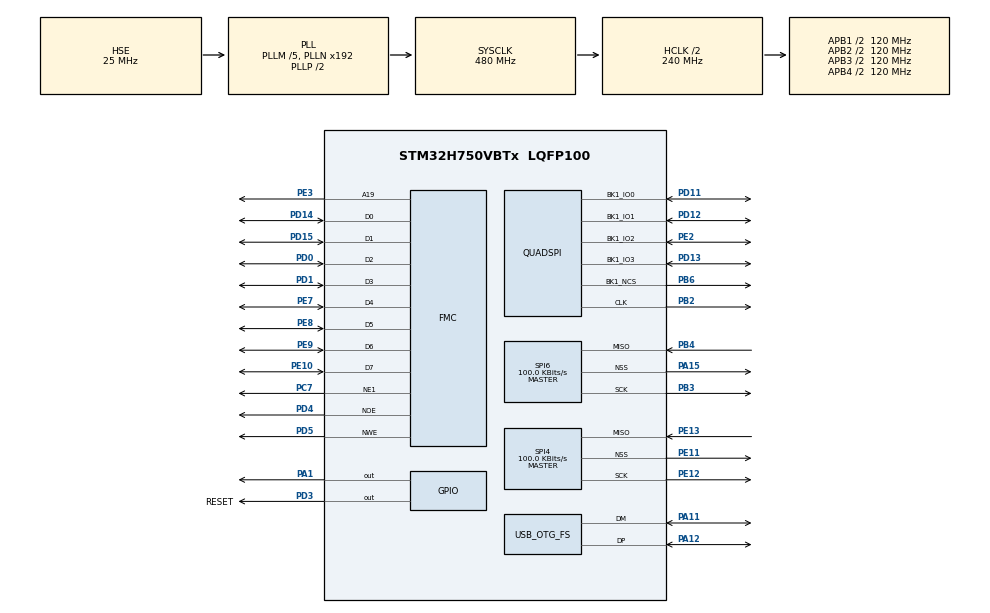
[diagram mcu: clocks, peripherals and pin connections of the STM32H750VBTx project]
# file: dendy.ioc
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CORTEX_M7.AccessPermission-Cortex_Memory_Protection_Unit_Region0_Settings=MPU_REGION_FULL_ACCESS
CORTEX_M7.AccessPermission-Cortex_Memory_Protection_Unit_Region1_Settings=MPU_REGION_FULL_ACCESS
CORTEX_M7.AccessPermission-Cortex_Memory_Protection_Unit_Region2_Settings=MPU_REGION_FULL_ACCESS
CORTEX_M7.AccessPermission-Cortex_Memory_Protection_Unit_Region3_Settings=MPU_REGION_PRIV_RO_URO
CORTEX_M7.AccessPermission-Cortex_Memory_Protection_Unit_Region4_Settings=MPU_REGION_FULL_ACCESS
CORTEX_M7.BaseAddress-Cortex_Memory_Protection_Unit_Region0_Settings=0x90000000
CORTEX_M7.BaseAddress-Cortex_Memory_Protection_Unit_Region1_Settings=0xC0080000
CORTEX_M7.BaseAddress-Cortex_Memory_Protection_Unit_Region2_Settings=0xC0000000
CORTEX_M7.BaseAddress-Cortex_Memory_Protection_Unit_Region3_Settings=0x08000000
CORTEX_M7.BaseAddress-Cortex_Memory_Protection_Unit_Region4_Settings=0x24000000
CORTEX_M7.CPU_DCache=Enabled
CORTEX_M7.CPU_ICache=Enabled
CORTEX_M7.DisableExec-Cortex_Memory_Protection_Unit_Region0_Settings=MPU_INSTRUCTION_ACCESS_DISABLE
CORTEX_M7.DisableExec-Cortex_Memory_Protection_Unit_Region1_Settings=MPU_INSTRUCTION_ACCESS_DISABLE
CORTEX_M7.DisableExec-Cortex_Memory_Protection_Unit_Region2_Settings=MPU_INSTRUCTION_ACCESS_DISABLE
CORTEX_M7.Enable-Cortex_Memory_Protection_Unit_Region0_Settings=MPU_REGION_ENABLE
CORTEX_M7.Enable-Cortex_Memory_Protection_Unit_Region1_Settings=MPU_REGION_ENABLE
CORTEX_M7.Enable-Cortex_Memory_Protection_Unit_Region2_Settings=MPU_REGION_ENABLE
CORTEX_M7.Enable-Cortex_Memory_Protection_Unit_Region3_Settings=MPU_REGION_ENABLE
CORTEX_M7.Enable-Cortex_Memory_Protection_Unit_Region4_Settings=MPU_REGION_ENABLE
CORTEX_M7.IsBufferable-Cortex_Memory_Protection_Unit_Region3_Settings=MPU_ACCESS_BUFFERABLE
CORTEX_M7.IsBufferable-Cortex_Memory_Protection_Unit_Region4_Settings=MPU_ACCESS_BUFFERABLE
CORTEX_M7.IsCacheable-Cortex_Memory_Protection_Unit_Region3_Settings=MPU_ACCESS_CACHEABLE
CORTEX_M7.IsCacheable-Cortex_Memory_Protection_Unit_Region4_Settings=MPU_ACCESS_CACHEABLE
CORTEX_M7.MPU_Control=MPU_PRIVILEGED_DEFAULT
CORTEX_M7.Size-Cortex_Memory_Protection_Unit_Region0_Settings=MPU_REGION_SIZE_8MB
CORTEX_M7.Size-Cortex_Memory_Protection_Unit_Region1_Settings=MPU_REGION_SIZE_128KB
CORTEX_M7.Size-Cortex_Memory_Protection_Unit_Region2_Settings=MPU_REGION_SIZE_128KB
CORTEX_M7.Size-Cortex_Memory_Protection_Unit_Region3_Settings=MPU_REGION_SIZE_128KB
CORTEX_M7.Size-Cortex_Memory_Protection_Unit_Region4_Settings=MPU_REGION_SIZE_512KB
CORTEX_M7.default_mode_Activation=0
FATFS._FS_EXFAT=1
FATFS._FS_LOCK=0
FATFS._FS_MINIMIZE=1
FATFS._FS_READONLY=1
FATFS._MAX_SS=4096
FATFS._MIN_SS=4096
FATFS._USE_LFN=3
FATFS._USE_MKFS=0
FMC.AddressHoldTime1=1
FMC.AddressSetupTime1=0
FMC.BankMapConfig=FMC_SWAPBMAP_SDRAM_SRAM
FMC.BusTurnAroundDuration1=0
FMC.DataSetupTime1=6
FMC.ExtendedMode1=FMC_EXTENDED_MODE_DISABLE
FMC.WriteFifo1=FMC_WRITE_FIFO_ENABLE
FREERTOS.HEAP_NUMBER=4
FREERTOS.Tasks01=Default_Task,24,4096,Start_Default_Task,Default,NULL,Static,defaultTaskBuffer,defaultTaskControlBlock
FREERTOS.configENABLE_BACKWARD_COMPATIBILITY=0
FREERTOS.configMINIMAL_STACK_SIZE=1024
FREERTOS.configQUEUE_REGISTRY_SIZE=32
FREERTOS.configTIMER_TASK_STACK_DEPTH=4096
FREERTOS.configUSE_NEWLIB_REENTRANT=1
FREERTOS.configUSE_OS2_EVENTFLAGS_FROM_ISR=0
FREERTOS.configUSE_OS2_THREAD_ENUMERATE=0
FREERTOS.configUSE_OS2_THREAD_FLAGS=0
FREERTOS.configUSE_OS2_THREAD_SUSPEND_RESUME=0
FREERTOS.configUSE_OS2_TIMER=0
FREERTOS.configUSE_TASK_NOTIFICATIONS=1
Mcu.Family=STM32H7
Mcu.Name=STM32H750VBTx
Mcu.Package=LQFP100
NVIC.OTG_FS_IRQn=true\:5\:0\:true\:false\:true\:true\:false\:true\:true
NVIC.PriorityGroup=NVIC_PRIORITYGROUP_4
NVIC.TIM17_IRQn=true\:5\:0\:true\:false\:true\:false\:false\:true\:true
NVIC.TimeBase=TIM17_IRQn
NVIC.TimeBaseIP=TIM17
PA1.Signal=GPIO_Output
PA11.GPIO_Speed=GPIO_SPEED_FREQ_VERY_HIGH
PA11.Mode=Device_Only
PA11.Signal=USB_OTG_FS_DM
PA12.GPIO_Speed=GPIO_SPEED_FREQ_VERY_HIGH
PA12.Mode=Device_Only
PA12.Signal=USB_OTG_FS_DP
PA15\ (JTDI).Mode=NSS_Signal_Hard_Output
PA15\ (JTDI).Signal=SPI6_NSS
PB2.GPIO_Speed=GPIO_SPEED_FREQ_VERY_HIGH
PB2.Mode=Single Bank 1
PB2.Signal=QUADSPI_CLK
PB3\ (JTDO/TRACESWO).Mode=RX_Only_Simplex_Unidirect_Master
PB3\ (JTDO/TRACESWO).Signal=SPI6_SCK
PB4\ (NJTRST).Mode=RX_Only_Simplex_Unidirect_Master
PB4\ (NJTRST).Signal=SPI6_MISO
PB6.GPIO_FM6=SYSCFG_PMCR_I2C_PB6_FMP
PB6.GPIO_Speed=GPIO_SPEED_FREQ_VERY_HIGH
PB6.Mode=Single Bank 1
PB6.Signal=QUADSPI_BK1_NCS
PC7.Mode=NorPsramChipSelect1_1
PC7.Signal=FMC_NE1
PD0.Signal=FMC_D2_DA2
PD1.Signal=FMC_D3_DA3
PD11.GPIO_Speed=GPIO_SPEED_FREQ_VERY_HIGH
PD11.Mode=Single Bank 1
PD11.Signal=QUADSPI_BK1_IO0
PD12.GPIO_Speed=GPIO_SPEED_FREQ_VERY_HIGH
PD12.Mode=Single Bank 1
PD12.Signal=QUADSPI_BK1_IO1
PD13.GPIO_Speed=GPIO_SPEED_FREQ_VERY_HIGH
PD13.Mode=Single Bank 1
PD13.Signal=QUADSPI_BK1_IO3
PD14.Signal=FMC_D0_DA0
PD15.Signal=FMC_D1_DA1
PD3.GPIO_Label=RESET
PD3.GPIO_PuPd=GPIO_PULLUP
PD3.Signal=GPIO_Output
PD4.Signal=FMC_NOE
PD5.Signal=FMC_NWE
PE10.Signal=FMC_D7_DA7
PE11.Mode=NSS_Signal_Hard_Output
PE11.Signal=SPI4_NSS
PE12.Mode=RX_Only_Simplex_Unidirect_Master
PE12.Signal=SPI4_SCK
PE13.Mode=RX_Only_Simplex_Unidirect_Master
PE13.Signal=SPI4_MISO
PE2.GPIO_Speed=GPIO_SPEED_FREQ_VERY_HIGH
PE2.Mode=Single Bank 1
PE2.Signal=QUADSPI_BK1_IO2
PE3.Signal=FMC_A19
PE7.Signal=FMC_D4_DA4
PE8.Signal=FMC_D5_DA5
PE9.Signal=FMC_D6_DA6
PH0-OSC_IN\ (PH0).Mode=HSE-External-Oscillator
PH0-OSC_IN\ (PH0).Signal=RCC_OSC_IN
PH1-OSC_OUT\ (PH1).Mode=HSE-External-Oscillator
PH1-OSC_OUT\ (PH1).Signal=RCC_OSC_OUT
ProjectManager.HeapSize=0x200
ProjectManager.StackSize=0x400
ProjectManager.TargetToolchain=STM32CubeIDE
QUADSPI.ChipSelectHighTime=QSPI_CS_HIGH_TIME_3_CYCLE
QUADSPI.ClockMode=QSPI_CLOCK_MODE_3
QUADSPI.ClockPrescaler=0
QUADSPI.FifoThreshold=32
QUADSPI.FlashSize=22
QUADSPI.SampleShifting=QSPI_SAMPLE_SHIFTING_HALFCYCLE
RCC.ADCFreq_Value=100000000
RCC.APB1Freq_Value=120000000
RCC.APB2Freq_Value=120000000
RCC.APB3Freq_Value=120000000
RCC.APB4Freq_Value=120000000
RCC.CortexFreq_Value=480000000
RCC.D1PPRE=RCC_APB3_DIV2
RCC.D2PPRE1=RCC_APB1_DIV2
RCC.D2PPRE2=RCC_APB2_DIV2
RCC.D3PPRE=RCC_APB4_DIV2
RCC.DIVM1=5
RCC.DIVM2=5
RCC.DIVM3=2
RCC.DIVN1=192
RCC.DIVN2=40
RCC.DIVN3=10
RCC.DIVP3=5
RCC.DIVQ1=8
RCC.DIVQ2=125
RCC.DIVQ3=4
RCC.DIVR2=4
RCC.FMCCLockSelection=RCC_FMCCLKSOURCE_PLL
RCC.HCLKFreq_Value=240000000
RCC.HPRE=RCC_HCLK_DIV2
RCC.PLL2FRACN=0
RCC.PLL3FRACN=0
RCC.PLLFRACN=0
RCC.PLLSourceVirtual=RCC_PLLSOURCE_HSE
RCC.PWR_Regulator_Voltage_Scale=PWR_REGULATOR_VOLTAGE_SCALE0
RCC.ProductRev=revY
RCC.QSPICLockSelection=RCC_QSPICLKSOURCE_PLL2
RCC.SPI6CLockSelection=RCC_SPI6CLKSOURCE_PLL2
RCC.SYSCLKFreq_VALUE=480000000
RCC.SYSCLKSource=RCC_SYSCLKSOURCE_PLLCLK
RCC.Spi45ClockSelection=RCC_SPI45CLKSOURCE_PLL2
RCC.USBCLockSelection=RCC_USBCLKSOURCE_HSI48
RCC.USBFreq_Value=48000000
SH.FMC_A19.0=FMC_A19,A19_1
SH.FMC_D0_DA0.0=FMC_D0,8b-d1
SH.FMC_D1_DA1.0=FMC_D1,8b-d1
SH.FMC_D2_DA2.0=FMC_D2,8b-d1
SH.FMC_D3_DA3.0=FMC_D3,8b-d1
SH.FMC_D4_DA4.0=FMC_D4,8b-d1
SH.FMC_D5_DA5.0=FMC_D5,8b-d1
SH.FMC_D6_DA6.0=FMC_D6,8b-d1
SH.FMC_D7_DA7.0=FMC_D7,8b-d1
SH.FMC_NOE.0=FMC_NOE,Lcd1
SH.FMC_NWE.0=FMC_NWE,Lcd1
SPI4.BaudRatePrescaler=SPI_BAUDRATEPRESCALER_16
SPI4.CLKPhase=SPI_PHASE_2EDGE
SPI4.CLKPolarity=SPI_POLARITY_HIGH
SPI4.CalculateBaudRate=100.0 KBits/s
SPI4.DataSize=SPI_DATASIZE_8BIT
SPI4.Direction=SPI_DIRECTION_2LINES_RXONLY
SPI4.Mode=SPI_MODE_MASTER
SPI4.NSSPMode=SPI_NSS_PULSE_DISABLE
SPI4.VirtualNSS=VM_NSSHARD
SPI4.VirtualType=VM_MASTER
SPI6.BaudRatePrescaler=SPI_BAUDRATEPRESCALER_16
SPI6.CLKPhase=SPI_PHASE_2EDGE
SPI6.CLKPolarity=SPI_POLARITY_HIGH
SPI6.CalculateBaudRate=100.0 KBits/s
SPI6.DataSize=SPI_DATASIZE_8BIT
SPI6.Direction=SPI_DIRECTION_2LINES_RXONLY
SPI6.Mode=SPI_MODE_MASTER
SPI6.NSSPMode=SPI_NSS_PULSE_DISABLE
SPI6.VirtualNSS=VM_NSSHARD
SPI6.VirtualType=VM_MASTER
USB_DEVICE.CLASS_NAME_FS=MSC
USB_DEVICE.MSC_MEDIA_PACKET-MSC_FS=4096
USB_DEVICE.VirtualMode-MSC_FS=Msc
USB_DEVICE.VirtualModeFS=Msc_FS
USB_OTG_FS.VirtualMode=Device_Only
VP_FATFS_VS_Generic.Mode=User_defined
VP_FREERTOS_VS_CMSIS_V2.Mode=CMSIS_V2
VP_SYS_VS_tim17.Mode=TIM17
VP_USB_DEVICE_VS_USB_DEVICE_MSC_FS.Mode=MSC_FS
board=custom

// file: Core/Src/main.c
/* USER CODE BEGIN Header */
/**
  ******************************************************************************
  * @file           : main.c
  * @brief          : Main program body
  ******************************************************************************
  * @attention
  *
  * <h2><center>&copy; Copyright (c) 2022 STMicroelectronics.
  * All rights reserved.</center></h2>
  *
  * This software component is licensed by ST under Ultimate Liberty license
  * SLA0044, the "License"; You may not use this file except in compliance with
  * the License. You may obtain a copy of the License at:
  *                             www.st.com/SLA0044
  *
  ******************************************************************************
  */
/* USER CODE END Header */
#include "main.h"
#include "cmsis_os.h"
#include "fatfs.h"
#include "spi.h"
#include "usb_device.h"
#include "gpio.h"
#include "fmc.h"

/* USER CODE BEGIN Includes */

#include "CPU.h"
#include "PPU.h"
#include "BUS.h"

#include "lcd.h"
#include "w25qxx_qspi.h"
/* USER CODE END Includes */

void SystemClock_Config(void);
void PeriphCommonClock_Config(void);
static void MPU_Config(void);
void MX_FREERTOS_Init(void);

int main(void)
{
  /* USER CODE BEGIN 1 */
	//SCB->VTOR = QSPI_BASE;
  /* USER CODE END 1 */

  /* MPU Configuration--------------------------------------------------------*/
  MPU_Config();

  /* Enable I-Cache---------------------------------------------------------*/
  //SCB_EnableICache();

  /* Enable D-Cache---------------------------------------------------------*/
  //SCB_EnableDCache();

  /* MCU Configuration--------------------------------------------------------*/

  /* Reset of all peripherals, Initializes the Flash interface and the Systick. */
  HAL_Init();

  /* Configure the system clock */
  SystemClock_Config();

/* Configure the peripherals common clocks */
  PeriphCommonClock_Config();

  /* Initialize all configured peripherals */
  MX_GPIO_Init();
  MX_FMC_Init();
  MX_FATFS_Init();
  MX_SPI6_Init();
  MX_SPI4_Init();
  /* USER CODE BEGIN 2 */

  InitFlash();
  /* USER CODE END 2 */

  /* Init scheduler */
  osKernelInitialize();  /* Call init function for freertos objects (in freertos.c) */
  MX_FREERTOS_Init();

  /* Start scheduler */
  osKernelStart();

  /* We should never get here as control is now taken by the scheduler */
  /* Infinite loop */

}

void SystemClock_Config(void)
{
  RCC_OscInitTypeDef RCC_OscInitStruct = {0};
  RCC_ClkInitTypeDef RCC_ClkInitStruct = {0};

  /** Supply configuration update enable
  */
  HAL_PWREx_ConfigSupply(PWR_LDO_SUPPLY);

  /** Configure the main internal regulator output voltage
  */
  __HAL_PWR_VOLTAGESCALING_CONFIG(PWR_REGULATOR_VOLTAGE_SCALE1);

  while(!__HAL_PWR_GET_FLAG(PWR_FLAG_VOSRDY)) {}

  __HAL_RCC_SYSCFG_CLK_ENABLE();
  __HAL_PWR_VOLTAGESCALING_CONFIG(PWR_REGULATOR_VOLTAGE_SCALE0);

  while(!__HAL_PWR_GET_FLAG(PWR_FLAG_VOSRDY)) {}

  /** Macro to configure the PLL clock source
  */
  __HAL_RCC_PLL_PLLSOURCE_CONFIG(RCC_PLLSOURCE_HSE);

  /** Initializes the RCC Oscillators according to the specified parameters
  * in the RCC_OscInitTypeDef structure.
  */
  RCC_OscInitStruct.OscillatorType = RCC_OSCILLATORTYPE_HSI48|RCC_OSCILLATORTYPE_HSE;
  RCC_OscInitStruct.HSEState = RCC_HSE_ON;
  RCC_OscInitStruct.HSI48State = RCC_HSI48_ON;
  RCC_OscInitStruct.PLL.PLLState = RCC_PLL_ON;
  RCC_OscInitStruct.PLL.PLLSource = RCC_PLLSOURCE_HSE;
  RCC_OscInitStruct.PLL.PLLM = 5;
  RCC_OscInitStruct.PLL.PLLN = 192;
  RCC_OscInitStruct.PLL.PLLP = 2;
  RCC_OscInitStruct.PLL.PLLQ = 8;
  RCC_OscInitStruct.PLL.PLLR = 2;
  RCC_OscInitStruct.PLL.PLLRGE = RCC_PLL1VCIRANGE_2;
  RCC_OscInitStruct.PLL.PLLVCOSEL = RCC_PLL1VCOWIDE;
  RCC_OscInitStruct.PLL.PLLFRACN = 0;
  if (HAL_RCC_OscConfig(&RCC_OscInitStruct) != HAL_OK)
  {
    Error_Handler();
  }

  /** Initializes the CPU, AHB and APB buses clocks
  */
  RCC_ClkInitStruct.ClockType = RCC_CLOCKTYPE_HCLK|RCC_CLOCKTYPE_SYSCLK
                              |RCC_CLOCKTYPE_PCLK1|RCC_CLOCKTYPE_PCLK2
                              |RCC_CLOCKTYPE_D3PCLK1|RCC_CLOCKTYPE_D1PCLK1;
  RCC_ClkInitStruct.SYSCLKSource = RCC_SYSCLKSOURCE_PLLCLK;
  RCC_ClkInitStruct.SYSCLKDivider = RCC_SYSCLK_DIV1;
  RCC_ClkInitStruct.AHBCLKDivider = RCC_HCLK_DIV2;
  RCC_ClkInitStruct.APB3CLKDivider = RCC_APB3_DIV2;
  RCC_ClkInitStruct.APB1CLKDivider = RCC_APB1_DIV2;
  RCC_ClkInitStruct.APB2CLKDivider = RCC_APB2_DIV2;
  RCC_ClkInitStruct.APB4CLKDivider = RCC_APB4_DIV2;

  if (HAL_RCC_ClockConfig(&RCC_ClkInitStruct, FLASH_LATENCY_4) != HAL_OK)
  {
    Error_Handler();
  }
}

void PeriphCommonClock_Config(void)
{
  RCC_PeriphCLKInitTypeDef PeriphClkInitStruct = {0};

  /** Initializes the peripherals clock
  */
  PeriphClkInitStruct.PeriphClockSelection = RCC_PERIPHCLK_QSPI|RCC_PERIPHCLK_SPI6
                              |RCC_PERIPHCLK_SPI4;
  PeriphClkInitStruct.PLL2.PLL2M = 5;
  PeriphClkInitStruct.PLL2.PLL2N = 40;
  PeriphClkInitStruct.PLL2.PLL2P = 2;
  PeriphClkInitStruct.PLL2.PLL2Q = 125;
  PeriphClkInitStruct.PLL2.PLL2R = 4;
  PeriphClkInitStruct.PLL2.PLL2RGE = RCC_PLL2VCIRANGE_2;
  PeriphClkInitStruct.PLL2.PLL2VCOSEL = RCC_PLL2VCOWIDE;
  PeriphClkInitStruct.PLL2.PLL2FRACN = 0;
  PeriphClkInitStruct.QspiClockSelection = RCC_QSPICLKSOURCE_PLL2;
  PeriphClkInitStruct.Spi45ClockSelection = RCC_SPI45CLKSOURCE_PLL2;
  PeriphClkInitStruct.Spi6ClockSelection = RCC_SPI6CLKSOURCE_PLL2;
  if (HAL_RCCEx_PeriphCLKConfig(&PeriphClkInitStruct) != HAL_OK)
  {
    Error_Handler();
  }
}

/* MPU Configuration */

void MPU_Config(void)
{
  MPU_Region_InitTypeDef MPU_InitStruct = {0};

  /* Disables the MPU */
  HAL_MPU_Disable();

  /** Initializes and configures the Region and the memory to be protected
  */
  MPU_InitStruct.Enable = MPU_REGION_ENABLE;
  MPU_InitStruct.Number = MPU_REGION_NUMBER0;
  MPU_InitStruct.BaseAddress = 0x90000000;
  MPU_InitStruct.Size = MPU_REGION_SIZE_8MB;
  MPU_InitStruct.SubRegionDisable = 0x0;
  MPU_InitStruct.TypeExtField = MPU_TEX_LEVEL0;
  MPU_InitStruct.AccessPermission = MPU_REGION_FULL_ACCESS;
  MPU_InitStruct.DisableExec = MPU_INSTRUCTION_ACCESS_DISABLE;
  MPU_InitStruct.IsShareable = MPU_ACCESS_NOT_SHAREABLE;
  MPU_InitStruct.IsCacheable = MPU_ACCESS_NOT_CACHEABLE;
  MPU_InitStruct.IsBufferable = MPU_ACCESS_NOT_BUFFERABLE;

  HAL_MPU_ConfigRegion(&MPU_InitStruct);

  /** Initializes and configures the Region and the memory to be protected
  */
  MPU_InitStruct.Number = MPU_REGION_NUMBER1;
  MPU_InitStruct.BaseAddress = 0xC0080000;
  MPU_InitStruct.Size = MPU_REGION_SIZE_128KB;

  HAL_MPU_ConfigRegion(&MPU_InitStruct);

  /** Initializes and configures the Region and the memory to be protected
  */
  MPU_InitStruct.Number = MPU_REGION_NUMBER2;
  MPU_InitStruct.BaseAddress = 0xC0000000;

  HAL_MPU_ConfigRegion(&MPU_InitStruct);

  /** Initializes and configures the Region and the memory to be protected
  */
  MPU_InitStruct.Number = MPU_REGION_NUMBER3;
  MPU_InitStruct.BaseAddress = 0x08000000;
  MPU_InitStruct.AccessPermission = MPU_REGION_PRIV_RO_URO;
  MPU_InitStruct.DisableExec = MPU_INSTRUCTION_ACCESS_ENABLE;
  MPU_InitStruct.IsCacheable = MPU_ACCESS_CACHEABLE;
  MPU_InitStruct.IsBufferable = MPU_ACCESS_BUFFERABLE;

  HAL_MPU_ConfigRegion(&MPU_InitStruct);

  /** Initializes and configures the Region and the memory to be protected
  */
  MPU_InitStruct.Number = MPU_REGION_NUMBER4;
  MPU_InitStruct.BaseAddress = 0x24000000;
  MPU_InitStruct.Size = MPU_REGION_SIZE_512KB;
  MPU_InitStruct.AccessPermission = MPU_REGION_FULL_ACCESS;

  HAL_MPU_ConfigRegion(&MPU_InitStruct);
  /* Enables the MPU */
  HAL_MPU_Enable(MPU_PRIVILEGED_DEFAULT);

}

void HAL_TIM_PeriodElapsedCallback(TIM_HandleTypeDef *htim)
{
  if (htim->Instance == TIM17) {
    HAL_IncTick();
  }
}

void Error_Handler(void)
{
  __disable_irq();
  while (1)
  {
  }
}

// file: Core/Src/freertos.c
/* USER CODE BEGIN Header */
/**
  ******************************************************************************
  * File Name          : freertos.c
  * Description        : Code for freertos applications
  ******************************************************************************
  * @attention
  *
  * <h2><center>&copy; Copyright (c) 2022 STMicroelectronics.
  * All rights reserved.</center></h2>
  *
  * This software component is licensed by ST under Ultimate Liberty license
  * SLA0044, the "License"; You may not use this file except in compliance with
  * the License. You may obtain a copy of the License at:
  *                             www.st.com/SLA0044
  *
  ******************************************************************************
  */
/* USER CODE END Header */

#include "FreeRTOS.h"
#include "task.h"
#include "main.h"
#include "cmsis_os.h"

/* USER CODE BEGIN Includes */

#include "CPU.h"
#include "PPU.h"
#include "BUS.h"

#include "lcd.h"
/* USER CODE END Includes */

typedef StaticTask_t osStaticThreadDef_t;

/* Definitions for Default_Task */
osThreadId_t Default_TaskHandle;
uint32_t defaultTaskBuffer[ 4096 ];
osStaticThreadDef_t defaultTaskControlBlock;
const osThreadAttr_t Default_Task_attributes = {
  .name = "Default_Task",
  .cb_mem = &defaultTaskControlBlock,
  .cb_size = sizeof(defaultTaskControlBlock),
  .stack_mem = &defaultTaskBuffer[0],
  .stack_size = sizeof(defaultTaskBuffer),
  .priority = (osPriority_t) osPriorityNormal,
};

void Start_Default_Task(void *argument);

extern void MX_USB_DEVICE_Init(void);
void MX_FREERTOS_Init(void); /* (MISRA C 2004 rule 8.1) */

void MX_FREERTOS_Init(void) {

  /* Create the thread(s) */
  /* creation of Default_Task */
  Default_TaskHandle = osThreadNew(Start_Default_Task, NULL, &Default_Task_attributes);

}

void Start_Default_Task(void *argument)
{
  /* init code for USB_DEVICE */
  MX_USB_DEVICE_Init();
  /* USER CODE BEGIN Start_Default_Task */
  CPU_reset();
  PPU_reset();

  LcdInit();
  	FindCartridges();
  	LoadSelectedCatrirdge();
  	if (cartridgeIsLoaded == 0)
  		while (1) osDelay(1000);

  	  for (int i = 0; i < 10; ++i) {
  		  HAL_GPIO_TogglePin(GPIOA, GPIO_PIN_1);
  		  HAL_Delay(100);
  	  }

  	controller_state[0] = 0xFF;
  	controller_state[1] = 0xFF;

  while (1) {
	  CPU_reset();
	  PPU_reset();

	      while(1) {
	          if(dma_transfer) {
	              dma_clock();
	          } else {
	              CPU_clock();
	          }

	          PPU_clock();
	          PPU_clock();
	          PPU_clock();

	          if(nmi){
	              nmi = 0;
	              CPU_NMI();
	          }
	      }
  }

  /* USER CODE END Start_Default_Task */
}
